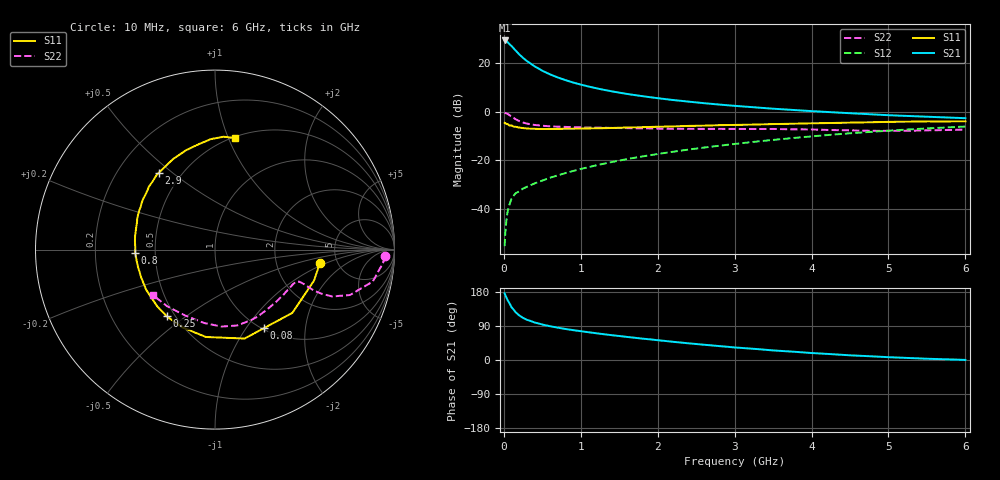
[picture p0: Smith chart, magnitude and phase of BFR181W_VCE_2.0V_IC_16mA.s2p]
! Infineon Technologies  Discrete & RF Semiconductors
! BFR181W
! VCE =  2.0 V,  IC =  16 mA
! Common Emitter S-Parameters:  Jan 2017
# GHz  S  MA  R  50
!  f  S11  S21  S12  S22
! GHz  MAG  ANG  MAG  ANG  MAG  ANG  MAG  ANG
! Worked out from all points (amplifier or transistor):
!   77 points, 10 MHz to 6 GHz, reference 50 ohm
!   highest |S21| = 29.3 dB at 10 MHz (marker M1)
!   |S21| within 3 dB of that: start of sweep to 120.4 MHz
!   unconditionally stable (mu >= 1): 456.9 MHz to 2.795 GHz
!   at 130 MHz: K = 0.46, MSG = 30.2 dB, |S12| = -34.5 dB
!   at 2.2 GHz: K = 1.10, MAG = 8.8 dB, |S12| = -16.5 dB
!   at 6 GHz: K = 0.91, MSG = 1.7 dB, |S12| = -6.1 dB
!   S11 on the Smith chart (normalised r, x): 10 MHz: 3.65, -0.86; 80 MHz: 1.01, -1.21; 250 MHz: 0.45, -0.43; 800 MHz: 0.38, -0.02; 2.9 GHz: 0.38, +0.45; 6 GHz: 0.51, +1.06
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0.01  0.5887 -7.5  29.24 176.0  0.0017 80.8  0.9463 -2.2
0.02  0.5778 -17.6  28.74 170.5  0.0033 90.1  0.9395 -4.5
0.05  0.5567 -39.3  26.93 157.3  0.0089 74.8  0.8974 -11.4
0.08  0.5155 -58.3  23.96 147.2  0.0132 66.7  0.8334 -15.5
0.1  0.5223 -71.6  22.49 139.1  0.0161 63.7  0.7934 -18.6
0.15  0.4895 -95.9  18.37 126.7  0.0207 60.1  0.7038 -21.8
0.2  0.4699 -112.7  15.14 117.6  0.023 57.4  0.6403 -22.5
0.25  0.4587 -125.8  12.78 111.1  0.0261 55.7  0.5986 -22.5
0.3  0.4512 -135.5  10.99 106.1  0.0284 57.4  0.5674 -22.0
0.4  0.4441 -149.5  8.559 98.8  0.0333 59.8  0.532 -21.2
0.5  0.4394 -159.2  6.955 93.6  0.0381 63.1  0.5125 -20.9
0.6  0.4397 -166.7  5.865 89.2  0.0436 64.6  0.4998 -20.9
0.7  0.4413 -172.3  5.063 85.4  0.0487 67.2  0.491 -21.2
0.8  0.4447 -177.9  4.466 81.9  0.0543 69.1  0.4854 -22.0
1.1  0.4518 170.1  3.299 73.3  0.072 72.0  0.4723 -25.1
1.5  0.4671 158.0  2.461 63.3  0.0982 74.0  0.4593 -31.0
2.1  0.4924 142.8  1.813 50.2  0.1419 73.7  0.4457 -42.6
2.9  0.5296 126.4  1.358 35.0  0.2073 69.9  0.4412 -60.4
3.1  0.5361 122.6  1.283 31.7  0.2253 68.4  0.4398 -64.9
4.1  0.5787 105.0  1.006 17.3  0.3192 59.7  0.4251 -87.8
5.1  0.6183 90.8  0.833 6.6  0.4147 48.6  0.4026 -117.6
6  0.632 79.6  0.733 0.2  0.4948 37.8  0.429 -143.8
